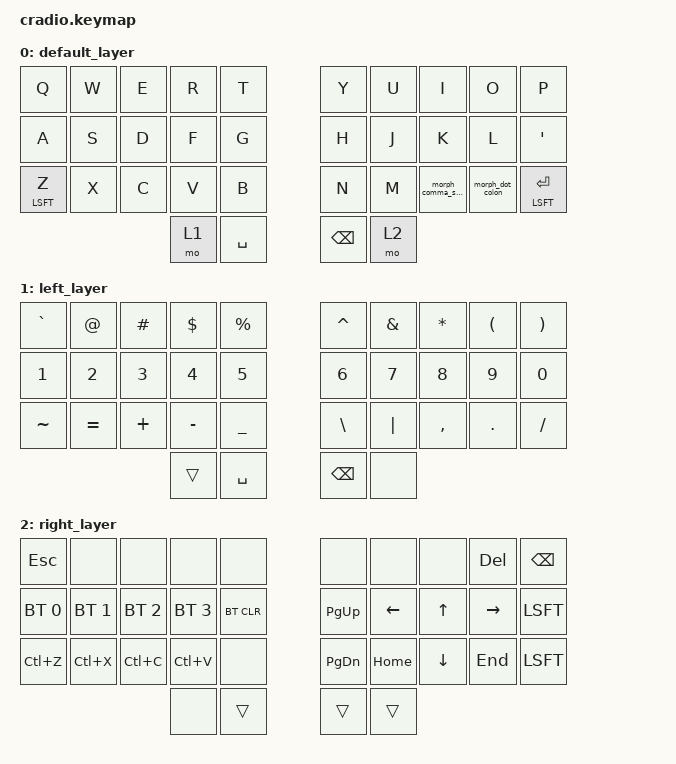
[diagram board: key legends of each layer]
/*
 * Copyright (c) 2020 The ZMK Contributors
 *
 * SPDX-License-Identifier: MIT
 */

#include <behaviors.dtsi>
#include <dt-bindings/zmk/keys.h>
#include <dt-bindings/zmk/bt.h>


&mt {
  //  flavor = "tap-preferred";
  // tapping_term_ms = <200>;
};

/ { 
// COMBOS -----------------------------------------------------------------------
    combos {
        compatible = "zmk,combos";
        
	// layer 0 (alphas)
        combo_tab {
            layers = <0>;
            timeout-ms = <50>;
            key-positions = <11 12>;
            bindings = <&kp TAB>;
        }; 

        combo_del {
            layers = <0>;
            timeout-ms = <50>;
            key-positions = <7 8>;
            bindings = <&kp DELETE>;
        }; 
        
        combo_slash {
            layers = <0>;
            timeout-ms = <50>;
            key-positions = <17 18>;
            bindings = <&kp SLASH>;
        }; 
          
        combo_qmark {
            layers = <0>;
            timeout-ms = <50>;
            key-positions = <26 27>;
            bindings = <&kp QMARK>;
        }; 

        combo_excl {
            layers = <0>;
            timeout-ms = <50>;
            key-positions = <27 28>;
            bindings = <&kp EXCL>;
        }; 
        
        combo_caps {
            layers = <0>;
            timeout-ms = <50>;
            key-positions = <20 29>;
            bindings = <&kp CAPS>;
        }; 
          
        // layer 1 (numbers and symbols)
        combo_lbrc {
            layers = <1>;
            timeout-ms = <50>;
            key-positions = <1 2>;
            bindings = <&kp LBRC>;
        }; 
        
        combo_lbkt {
            layers = <1>;
            timeout-ms = <50>;
            key-positions = <2 3>;
            bindings = <&kp LBKT>;
        };    
        
        combo_lt {
            layers = <1>;
            timeout-ms = <50>;
            key-positions = <3 4>;
            bindings = <&kp LT>;
        }; 
        
        combo_gt {
            layers = <1>;
            timeout-ms = <50>;
            key-positions = <5 6>;
            bindings = <&kp GT>;
        }; 
                
        combo_rbkt {
            layers = <1>;
            timeout-ms = <50>;
            key-positions = <6 7>;
            bindings = <&kp RBKT>;
        }; 
        
        combo_rbrc {
            layers = <1>;
            timeout-ms = <50>;
            key-positions = <7 8>;
            bindings = <&kp RBRC>;
        };     
    };
    
// MOD MORPH -----------------------------------------------------------------------
   behaviors {
       morph_comma_semi: morph_comma_semi {
            compatible = "zmk,behavior-mod-morph";
            label = "MORPH_COMMA_SEMI";
            #binding-cells = <0>;
            bindings = <&kp COMMA>, <&kp SEMI>;
            mods = <(MOD_LSFT|MOD_RSFT)>;
        };
        
        morph_dot_colon: morph_dot_colon {
            compatible = "zmk,behavior-mod-morph";
            label = "MORPH_DOT_COLON";
            #binding-cells = <0>;
            bindings = <&kp DOT>, <&kp COLON>;
            mods = <(MOD_LSFT|MOD_RSFT)>;
        };
    };
    
// KEYMAP -----------------------------------------------------------------------
    keymap {
	compatible = "zmk,keymap";
                
       	default_layer {
	bindings = <
	&kp Q 		&kp W 		&kp E 		&kp R 		&kp T 				&kp Y 		&kp U  	&kp I		    &kp O   		&kp P 
	&kp A 		&kp S 		&kp D 		&kp F 		&kp G 				&kp H 		&kp J 	&kp K 		    &kp L 		&kp QUOT
	&mt LSFT Z 	&kp X 		&kp C 		&kp V 		&kp B				&kp N 		&kp M  	&morph_comma_semi   &morph_dot_colon  	&mt LSFT RET
          						&mo 1 		&kp SPC  			&kp BKSP 	&mo 2 
	>;
	};

       	left_layer {
	bindings = <
	&kp GRAVE   	&kp AT		&kp HASH  	&kp DLLR  	&kp PRCNT    			&kp CARET  	&kp AMPS   	&kp STAR  	&kp LPAR	&kp RPAR		
	&kp N1	  	&kp N2    	&kp N3    	&kp N4    	&kp N5				&kp N6 	  	&kp N7    	&kp N8    	&kp N9    	&kp N0 
	&kp TILDE 	&kp EQUAL 	&kp PLUS  	&kp MINUS 	&kp UNDER 			&kp BSLH  	&kp PIPE 	&kp COMMA 	&kp DOT  	&kp SLASH 
					      		&trans  	&kp SPC				&kp BKSP	&none
	>;
	};
		
	right_layer {
	bindings = <
	&kp ESCAPE  	&none	    	&none     	&none	    	&none   			&none   	&none  		&none    	&kp DELETE	&kp BKSP
	&bt BT_SEL 0	&bt BT_SEL 1   	&bt BT_SEL 2   	&bt BT_SEL 3  	&bt BT_CLR	 		&kp PG_UP	&kp LEFT  	&kp UP  	&kp RIGHT  	&kp LSFT		
	&kp LC(Z)	&kp LC(X)    	&kp LC(C)     	&kp LC(V)	&none		     		&kp PG_DN	&kp HOME   	&kp DOWN     	&kp END		&kp LSFT
							&none	  	&trans 				&trans  	&trans 
	>;
	};
    };
};
